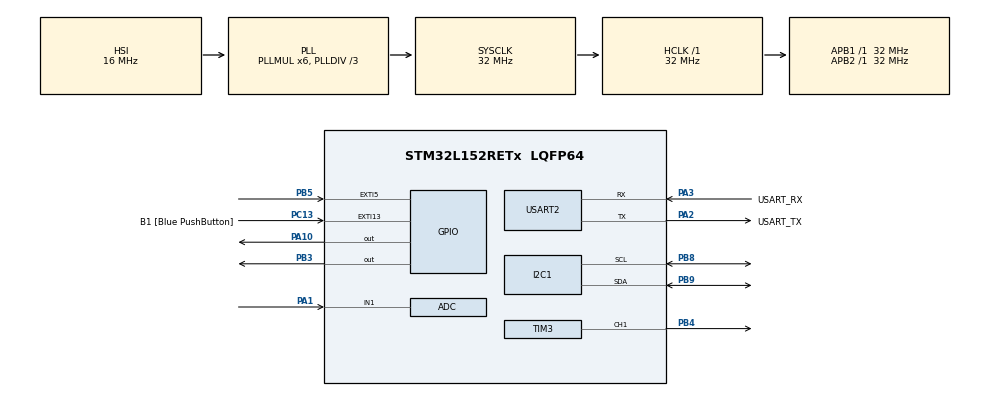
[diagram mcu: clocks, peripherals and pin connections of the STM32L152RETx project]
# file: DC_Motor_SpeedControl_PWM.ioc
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ADC.Channel-0\#ChannelRegularConversion=ADC_CHANNEL_1
ADC.NbrOfConversionFlag=1
ADC.Rank-0\#ChannelRegularConversion=1
ADC.SamplingTime-0\#ChannelRegularConversion=ADC_SAMPLETIME_4CYCLES
Mcu.Family=STM32L1
Mcu.Name=STM32L152RETx
Mcu.Package=LQFP64
NVIC.EXTI9_5_IRQn=true\:0\:0\:false\:false\:true\:true\:true\:true
NVIC.PriorityGroup=NVIC_PRIORITYGROUP_0
NVIC.TIM3_IRQn=true\:0\:0\:false\:false\:true\:true\:true\:true
PA1.Mode=IN1
PA1.Signal=ADC_IN1
PA10.GPIO_PuPd=GPIO_NOPULL
PA10.Signal=GPIO_Output
PA13.GPIO_Label=TMS
PA13.Mode=Serial_Wire
PA13.Signal=SYS_JTMS-SWDIO
PA14.GPIO_Label=TCK
PA14.Mode=Serial_Wire
PA14.Signal=SYS_JTCK-SWCLK
PA2.GPIO_Label=USART_TX
PA2.Mode=Asynchronous
PA2.Signal=USART2_TX
PA3.GPIO_Label=USART_RX
PA3.Mode=Asynchronous
PA3.Signal=USART2_RX
PB3.GPIO_PuPd=GPIO_NOPULL
PB3.Signal=GPIO_Output
PB4.Signal=S_TIM3_CH1
PB5.GPIO_PuPd=GPIO_NOPULL
PB5.Signal=GPXTI5
PB8.Mode=I2C
PB8.Signal=I2C1_SCL
PB9.Mode=I2C
PB9.Signal=I2C1_SDA
PC13-WKUP2.GPIO_Label=B1 [Blue PushButton]
PC13-WKUP2.GPIO_PuPd=GPIO_NOPULL
PC13-WKUP2.Signal=GPXTI13
PC14-OSC32_IN.Mode=LSE-External-Oscillator
PC14-OSC32_IN.Signal=RCC_OSC32_IN
PC15-OSC32_OUT.Mode=LSE-External-Oscillator
PC15-OSC32_OUT.Signal=RCC_OSC32_OUT
PH0-OSC_IN.Mode=HSE-External-Clock-Source
PH0-OSC_IN.Signal=RCC_OSC_IN
PH1-OSC_OUT.Signal=RCC_OSC_OUT
ProjectManager.HeapSize=0x200
ProjectManager.StackSize=0x400
ProjectManager.TargetToolchain=STM32CubeIDE
RCC.48MHZClocksFreq_Value=48000000
RCC.AHBFreq_Value=32000000
RCC.APB1Freq_Value=32000000
RCC.APB1TimFreq_Value=32000000
RCC.APB2Freq_Value=32000000
RCC.APB2TimFreq_Value=32000000
RCC.HCLKFreq_Value=32000000
RCC.HSE_VALUE=8000000
RCC.HSI_VALUE=16000000
RCC.MSI_VALUE=2097000
RCC.PLLDIV=RCC_PLL_DIV3
RCC.PLLMUL=RCC_PLL_MUL6
RCC.RTCClockSelectionVirtual=RCC_RTCCLKSOURCE_LSE
RCC.SYSCLKFreq_VALUE=32000000
RCC.SYSCLKSource=RCC_SYSCLKSOURCE_PLLCLK
RCC.USBOutput=48000000
RCC.VCOOutputFreq_Value=96000000
SH.S_TIM3_CH1.0=TIM3_CH1,PWM Generation1 CH1
TIM3.Channel-PWM\ Generation1\ CH1=TIM_CHANNEL_1
TIM3.Period=1599
TIM5.Prescaler=31
USART2.VirtualMode=VM_ASYNC
VP_TIM3_VS_ClockSourceINT.Mode=Internal
VP_TIM5_VS_ClockSourceINT.Mode=Internal
board=NUCLEO-L152RE

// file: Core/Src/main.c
/* USER CODE BEGIN Header */
/**
  ******************************************************************************
  * @file           : main.c
  * @brief          : Main program body (Lab 7 - improved accuracy, minimal changes)
  ******************************************************************************
  * Notes:
  *  - PWM: TIM3 CH1
  *  - Direction: PA10 = IN1, PB3 = IN2 (forward set in motor_forward)
  *  - Encoder: PB5 EXTI rising edge (counts pulses)
  *  - ADC: ADC_CHANNEL_1 (PA1/A1) -> potentiometer
  *  - RPM timing: TIM5 free-running counter (PSC=31) used to measure elapsed time
  ******************************************************************************
  */
/* USER CODE END Header */

#include "main.h"

/* USER CODE BEGIN Includes */
#include "stm32l1xx_hal.h"
#include "lcd_i2c.h"
#include <stdbool.h>
#include <stdint.h>
/* USER CODE END Includes */

/* USER CODE BEGIN PD */
#define ENCODER_PPR   1u   // IMPORTANT: change if your encoder has >1 pulse per revolution
/* USER CODE END PD */

ADC_HandleTypeDef hadc;

I2C_HandleTypeDef hi2c1;

TIM_HandleTypeDef htim3;
TIM_HandleTypeDef htim5;

UART_HandleTypeDef huart2;

/* USER CODE BEGIN PV */
volatile uint32_t pulse_count = 0;

/* Speed control */
static float duty = 0.15f;            // current applied duty
static float duty_min_run = 0.15f;    // minimum duty to keep spinning (calibrate in Part 2)
static float duty_min_start = 0.20f;  // not used in logic, kept for documentation

/* RPM values */
static uint32_t rpm_expected = 0;
static uint32_t rpm_actual = 0;

/* Timing */
static uint32_t last_rpm_calc_us = 0;

/* Direction (only forward implemented here) */
static bool dir = true;

/* ADC smoothing (EMA) */
static uint32_t adc_filt = 2048;      // filtered ADC value (0..4095)
/* USER CODE END PV */

void SystemClock_Config(void);
static void MX_GPIO_Init(void);
static void MX_USART2_UART_Init(void);
static void MX_I2C1_Init(void);
static void MX_ADC_Init(void);
static void MX_TIM3_Init(void);
static void MX_TIM5_Init(void);

/* USER CODE BEGIN PFP */
static void motor_forward(void);
static void PWM_SetDuty_TIM3_CH1(float d);
/* USER CODE END PFP */

/* USER CODE BEGIN 0 */

/*
 * Motor forward:
 * PA10 = IN1, PB3 = IN2
 * (Swap motor leads OUT1/OUT2 if CLK/ACLK labeling feels reversed.)
 */
static void motor_forward(void)
{
    HAL_GPIO_WritePin(GPIOA, GPIO_PIN_10, GPIO_PIN_SET);
    HAL_GPIO_WritePin(GPIOB, GPIO_PIN_3,  GPIO_PIN_RESET);
    dir = true;
}

/*
 * PWM duty update:
 * CCR = duty*(ARR+1) with clamping.
 */
static void PWM_SetDuty_TIM3_CH1(float d)
{
    if (d < 0.0f) d = 0.0f;
    if (d > 1.0f) d = 1.0f;

    uint32_t arr = __HAL_TIM_GET_AUTORELOAD(&htim3);
    uint32_t ccr = (uint32_t)(d * (float)(arr + 1U));

    if (ccr > arr) ccr = arr;

    __HAL_TIM_SET_COMPARE(&htim3, TIM_CHANNEL_1, ccr);
}

/*
 * Encoder EXTI callback:
 * PB5 rising edge increments pulse_count
 */
void HAL_GPIO_EXTI_Callback(uint16_t GPIO_Pin)
{
    if (GPIO_Pin == GPIO_PIN_5)
    {
        pulse_count++;
    }
}

/* USER CODE END 0 */

int main(void)
{
  HAL_Init();
  SystemClock_Config();

  MX_GPIO_Init();
  MX_USART2_UART_Init();
  MX_I2C1_Init();
  MX_ADC_Init();
  MX_TIM3_Init();
  MX_TIM5_Init();

  /* USER CODE BEGIN 2 */
  RGB_LCD_HandleTypeDef lcd;
  lcd.hi2c = &hi2c1;
  lcd.rgb_addr = 0x62 << 1;
  lcd.cols = 16;
  lcd.rows = 2;

  RGB_LCD_Init(&lcd);
  RGB_LCD_SetRGB(&lcd, 0, 128, 255);
  RGB_LCD_Clear(&lcd);

  motor_forward();

  // Start PWM and timing base
  HAL_TIM_PWM_Start(&htim3, TIM_CHANNEL_1);

  HAL_TIM_Base_Start(&htim5);
  __HAL_TIM_SET_COUNTER(&htim5, 0);
  last_rpm_calc_us = __HAL_TIM_GET_COUNTER(&htim5);

  // Start ADC (single conversion mode, software-triggered)
  HAL_ADC_Start(&hadc);

  // Apply initial duty
  duty = duty_min_run;
  PWM_SetDuty_TIM3_CH1(duty);

  uint32_t last_disp_ms = HAL_GetTick();
  float expSpd = 0.0f;
  float actlSpd = 0.0f;
  /* USER CODE END 2 */

  while (1)
  {
    uint32_t adc = 0;
    uint32_t now_us = 0;

    /* ---------------- ADC -> PWM (with smoothing) ---------------- */
    if (HAL_ADC_PollForConversion(&hadc, 10) == HAL_OK)
    {
        adc = HAL_ADC_GetValue(&hadc); // 0..4095

        // EMA filter: adc_filt = 7/8 old + 1/8 new
        adc_filt = (adc_filt * 7u + adc) / 8u;

        // Map ADC to [duty_min_run .. 1.0]
        float x = (float)adc_filt / 4095.0f;
        duty = duty_min_run + x * (1.0f - duty_min_run);

        PWM_SetDuty_TIM3_CH1(duty);

        // Better expected RPM model using duty_min_run dead-zone
        if (duty <= duty_min_run)
        {
            rpm_expected = 0;
        }
        else
        {
            float norm = (duty - duty_min_run) / (1.0f - duty_min_run);  // 0..1
            rpm_expected = (uint32_t)(norm * 5000.0f + 0.5f);            // rounded
        }

        // Next conversion
        HAL_ADC_Start(&hadc);
    }

    /* ---------------- RPM calc ~ every 1 second (more accurate) ---------------- */
    now_us = __HAL_TIM_GET_COUNTER(&htim5);
    uint32_t dt_us = (uint32_t)(now_us - last_rpm_calc_us); // handles wrap-around

    if (dt_us >= 1000000UL)
    {
        uint32_t pulses;

        last_rpm_calc_us = now_us;

        __disable_irq();
        pulses = pulse_count;
        pulse_count = 0;
        __enable_irq();

        // RPM = pulses * 60 * 1e6 / (PPR * dt_us)
        uint64_t num = (uint64_t)pulses * 60ULL * 1000000ULL;
        uint64_t den = (uint64_t)ENCODER_PPR * (uint64_t)dt_us;

        rpm_actual = (den > 0ULL) ? (uint32_t)(num / den) : 0u;
    }

    /* ---------------- LCD refresh every 200 ms ---------------- */
    if ((uint32_t)(HAL_GetTick() - last_disp_ms) >= 200U)
    {
        last_disp_ms = HAL_GetTick();

        expSpd = (float)rpm_expected;
        actlSpd = (float)rpm_actual;

        displaySpeed(&lcd, expSpd, actlSpd, dir);
    }

    // Keep loop responsive; timers/interrupts do the real timing
    HAL_Delay(1);
  }
}

void SystemClock_Config(void)
{
  RCC_OscInitTypeDef RCC_OscInitStruct = {0};
  RCC_ClkInitTypeDef RCC_ClkInitStruct = {0};

  __HAL_PWR_VOLTAGESCALING_CONFIG(PWR_REGULATOR_VOLTAGE_SCALE1);

  RCC_OscInitStruct.OscillatorType = RCC_OSCILLATORTYPE_HSI;
  RCC_OscInitStruct.HSIState = RCC_HSI_ON;
  RCC_OscInitStruct.HSICalibrationValue = RCC_HSICALIBRATION_DEFAULT;
  RCC_OscInitStruct.PLL.PLLState = RCC_PLL_ON;
  RCC_OscInitStruct.PLL.PLLSource = RCC_PLLSOURCE_HSI;
  RCC_OscInitStruct.PLL.PLLMUL = RCC_PLL_MUL6;
  RCC_OscInitStruct.PLL.PLLDIV = RCC_PLL_DIV3;
  if (HAL_RCC_OscConfig(&RCC_OscInitStruct) != HAL_OK)
  {
    Error_Handler();
  }

  RCC_ClkInitStruct.ClockType = RCC_CLOCKTYPE_HCLK|RCC_CLOCKTYPE_SYSCLK
                              |RCC_CLOCKTYPE_PCLK1|RCC_CLOCKTYPE_PCLK2;
  RCC_ClkInitStruct.SYSCLKSource = RCC_SYSCLKSOURCE_PLLCLK;
  RCC_ClkInitStruct.AHBCLKDivider = RCC_SYSCLK_DIV1;
  RCC_ClkInitStruct.APB1CLKDivider = RCC_HCLK_DIV1;
  RCC_ClkInitStruct.APB2CLKDivider = RCC_HCLK_DIV1;

  if (HAL_RCC_ClockConfig(&RCC_ClkInitStruct, FLASH_LATENCY_1) != HAL_OK)
  {
    Error_Handler();
  }
}

static void MX_ADC_Init(void)
{
  ADC_ChannelConfTypeDef sConfig = {0};

  hadc.Instance = ADC1;
  hadc.Init.ClockPrescaler = ADC_CLOCK_ASYNC_DIV1;
  hadc.Init.Resolution = ADC_RESOLUTION_12B;
  hadc.Init.DataAlign = ADC_DATAALIGN_RIGHT;
  hadc.Init.ScanConvMode = ADC_SCAN_DISABLE;
  hadc.Init.EOCSelection = ADC_EOC_SEQ_CONV;
  hadc.Init.LowPowerAutoWait = ADC_AUTOWAIT_DISABLE;
  hadc.Init.LowPowerAutoPowerOff = ADC_AUTOPOWEROFF_DISABLE;
  hadc.Init.ChannelsBank = ADC_CHANNELS_BANK_A;
  hadc.Init.ContinuousConvMode = DISABLE;
  hadc.Init.NbrOfConversion = 1;
  hadc.Init.DiscontinuousConvMode = DISABLE;
  hadc.Init.ExternalTrigConv = ADC_SOFTWARE_START;
  hadc.Init.ExternalTrigConvEdge = ADC_EXTERNALTRIGCONVEDGE_NONE;
  hadc.Init.DMAContinuousRequests = DISABLE;
  if (HAL_ADC_Init(&hadc) != HAL_OK)
  {
    Error_Handler();
  }

  // PA1 / A1
  sConfig.Channel = ADC_CHANNEL_1;
  sConfig.Rank = ADC_REGULAR_RANK_1;
  sConfig.SamplingTime = ADC_SAMPLETIME_4CYCLES;
  if (HAL_ADC_ConfigChannel(&hadc, &sConfig) != HAL_OK)
  {
    Error_Handler();
  }
}

static void MX_I2C1_Init(void)
{
  hi2c1.Instance = I2C1;
  hi2c1.Init.ClockSpeed = 100000;
  hi2c1.Init.DutyCycle = I2C_DUTYCYCLE_2;
  hi2c1.Init.OwnAddress1 = 0;
  hi2c1.Init.AddressingMode = I2C_ADDRESSINGMODE_7BIT;
  hi2c1.Init.DualAddressMode = I2C_DUALADDRESS_DISABLE;
  hi2c1.Init.OwnAddress2 = 0;
  hi2c1.Init.GeneralCallMode = I2C_GENERALCALL_DISABLE;
  hi2c1.Init.NoStretchMode = I2C_NOSTRETCH_DISABLE;
  if (HAL_I2C_Init(&hi2c1) != HAL_OK)
  {
    Error_Handler();
  }
}

static void MX_TIM3_Init(void)
{
  TIM_ClockConfigTypeDef sClockSourceConfig = {0};
  TIM_MasterConfigTypeDef sMasterConfig = {0};
  TIM_OC_InitTypeDef sConfigOC = {0};

  htim3.Instance = TIM3;
  htim3.Init.Prescaler = 0;
  htim3.Init.CounterMode = TIM_COUNTERMODE_UP;
  htim3.Init.Period = 1599;
  htim3.Init.ClockDivision = TIM_CLOCKDIVISION_DIV1;
  htim3.Init.AutoReloadPreload = TIM_AUTORELOAD_PRELOAD_DISABLE;
  if (HAL_TIM_Base_Init(&htim3) != HAL_OK)
  {
    Error_Handler();
  }

  sClockSourceConfig.ClockSource = TIM_CLOCKSOURCE_INTERNAL;
  if (HAL_TIM_ConfigClockSource(&htim3, &sClockSourceConfig) != HAL_OK)
  {
    Error_Handler();
  }

  if (HAL_TIM_PWM_Init(&htim3) != HAL_OK)
  {
    Error_Handler();
  }

  sMasterConfig.MasterOutputTrigger = TIM_TRGO_RESET;
  sMasterConfig.MasterSlaveMode = TIM_MASTERSLAVEMODE_DISABLE;
  if (HAL_TIMEx_MasterConfigSynchronization(&htim3, &sMasterConfig) != HAL_OK)
  {
    Error_Handler();
  }

  sConfigOC.OCMode = TIM_OCMODE_PWM1;
  sConfigOC.Pulse = 0;
  sConfigOC.OCPolarity = TIM_OCPOLARITY_HIGH;
  sConfigOC.OCFastMode = TIM_OCFAST_DISABLE;
  if (HAL_TIM_PWM_ConfigChannel(&htim3, &sConfigOC, TIM_CHANNEL_1) != HAL_OK)
  {
    Error_Handler();
  }

  HAL_TIM_MspPostInit(&htim3);
}

static void MX_TIM5_Init(void)
{
  TIM_ClockConfigTypeDef sClockSourceConfig = {0};
  TIM_MasterConfigTypeDef sMasterConfig = {0};

  htim5.Instance = TIM5;
  htim5.Init.Prescaler = 31;
  htim5.Init.CounterMode = TIM_COUNTERMODE_UP;
  htim5.Init.Period = 4294967295;
  htim5.Init.ClockDivision = TIM_CLOCKDIVISION_DIV1;
  htim5.Init.AutoReloadPreload = TIM_AUTORELOAD_PRELOAD_DISABLE;
  if (HAL_TIM_Base_Init(&htim5) != HAL_OK)
  {
    Error_Handler();
  }

  sClockSourceConfig.ClockSource = TIM_CLOCKSOURCE_INTERNAL;
  if (HAL_TIM_ConfigClockSource(&htim5, &sClockSourceConfig) != HAL_OK)
  {
    Error_Handler();
  }

  sMasterConfig.MasterOutputTrigger = TIM_TRGO_RESET;
  sMasterConfig.MasterSlaveMode = TIM_MASTERSLAVEMODE_DISABLE;
  if (HAL_TIMEx_MasterConfigSynchronization(&htim5, &sMasterConfig) != HAL_OK)
  {
    Error_Handler();
  }
}

static void MX_USART2_UART_Init(void)
{
  huart2.Instance = USART2;
  huart2.Init.BaudRate = 115200;
  huart2.Init.WordLength = UART_WORDLENGTH_8B;
  huart2.Init.StopBits = UART_STOPBITS_1;
  huart2.Init.Parity = UART_PARITY_NONE;
  huart2.Init.Mode = UART_MODE_TX_RX;
  huart2.Init.HwFlowCtl = UART_HWCONTROL_NONE;
  huart2.Init.OverSampling = UART_OVERSAMPLING_16;
  if (HAL_UART_Init(&huart2) != HAL_OK)
  {
    Error_Handler();
  }
}

static void MX_GPIO_Init(void)
{
  GPIO_InitTypeDef GPIO_InitStruct = {0};

  __HAL_RCC_GPIOC_CLK_ENABLE();
  __HAL_RCC_GPIOH_CLK_ENABLE();
  __HAL_RCC_GPIOA_CLK_ENABLE();
  __HAL_RCC_GPIOB_CLK_ENABLE();

  HAL_GPIO_WritePin(GPIOA, GPIO_PIN_10, GPIO_PIN_RESET);
  HAL_GPIO_WritePin(GPIOB, GPIO_PIN_3,  GPIO_PIN_RESET);

  /* B1 blue button */
  GPIO_InitStruct.Pin = B1_Pin;
  GPIO_InitStruct.Mode = GPIO_MODE_IT_RISING;
  GPIO_InitStruct.Pull = GPIO_NOPULL;
  HAL_GPIO_Init(B1_GPIO_Port, &GPIO_InitStruct);

  /* PA10 = IN1 */
  GPIO_InitStruct.Pin = GPIO_PIN_10;
  GPIO_InitStruct.Mode = GPIO_MODE_OUTPUT_PP;
  GPIO_InitStruct.Pull = GPIO_NOPULL;
  GPIO_InitStruct.Speed = GPIO_SPEED_FREQ_LOW;
  HAL_GPIO_Init(GPIOA, &GPIO_InitStruct);

  /* PB3 = IN2 */
  GPIO_InitStruct.Pin = GPIO_PIN_3;
  GPIO_InitStruct.Mode = GPIO_MODE_OUTPUT_PP;
  GPIO_InitStruct.Pull = GPIO_NOPULL;
  GPIO_InitStruct.Speed = GPIO_SPEED_FREQ_LOW;
  HAL_GPIO_Init(GPIOB, &GPIO_InitStruct);

  /* PB5 = encoder input interrupt */
  GPIO_InitStruct.Pin = GPIO_PIN_5;
  GPIO_InitStruct.Mode = GPIO_MODE_IT_RISING;
  GPIO_InitStruct.Pull = GPIO_NOPULL;  // if encoder is open-collector, consider PULLUP
  HAL_GPIO_Init(GPIOB, &GPIO_InitStruct);

  HAL_NVIC_SetPriority(EXTI9_5_IRQn, 0, 0);
  HAL_NVIC_EnableIRQ(EXTI9_5_IRQn);
}

void Error_Handler(void)
{
  __disable_irq();
  while (1)
  {
  }
}
